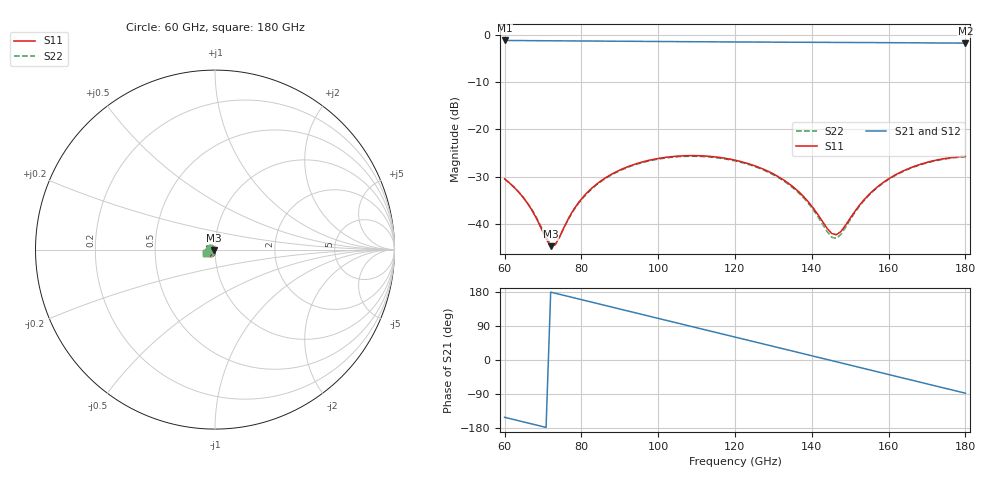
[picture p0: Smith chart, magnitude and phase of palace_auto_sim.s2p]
#  GHZ S DB R 50
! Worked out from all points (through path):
!   101 points, 60 GHz to 180 GHz, reference 50 ohm
!   highest |S21| = -1.16 dB at 60 GHz (marker M1); lowest = -1.7 dB at 180 GHz (marker M2)
!   group delay of S21, straight-line fit = 6.86 ps
!   lowest |S11| = -44.7 dB at 72 GHz (marker M3), VSWR 1.01, Z = 49.5 - j0.303 ohm
!   |S11| at or under -10 dB: start of sweep to end of sweep
!   |S22| runs from -44.3 to -25.7 dB; largest |S21 - S12| = 9.8e-14
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60  -30.49 176.6  -1.16 -151.2  -1.16 -151.2  -30.48 176.5
66  -35.71 168.9  -1.20 -166.1  -1.20 -166.1  -35.61 168.9
72  -44.73 -148.1  -1.23 179.1  -1.23 179.1  -44.32 -150.8
73.2  -44.43 -123.5  -1.24 176.1  -1.24 176.1  -44.22 -127.4
76.8  -38.61 -90.5  -1.25 167.2  -1.25 167.2  -38.75 -93.2
80.4  -34.35 -88.4  -1.27 158.3  -1.27 158.3  -34.51 -90.4
84  -31.56 -93.2  -1.29 149.4  -1.29 149.4  -31.72 -94.8
88.8  -29.08 -102.7  -1.32 137.5  -1.32 137.5  -29.23 -104.2
94.8  -27.15 -116.2  -1.35 122.7  -1.35 122.7  -27.28 -117.7
100.8  -26.05 -130.4  -1.39 107.9  -1.39 107.9  -26.19 -131.9
110.4  -25.57 -153.1  -1.43 84.2  -1.43 84.2  -25.71 -154.7
120  -26.52 -175.0  -1.48 60.5  -1.48 60.5  -26.67 -176.9
132  -30.36 161.1  -1.53 30.9  -1.53 30.9  -30.55 158.7
136.8  -33.37 155.7  -1.54 19.1  -1.54 19.1  -33.61 152.8
140.4  -36.68 157.4  -1.56 10.2  -1.56 10.2  -37.04 154.2
144  -40.96 175.8  -1.57 1.3  -1.57 1.3  -41.64 172.9
146.4  -42.31 -153.9  -1.58 -4.6  -1.58 -4.6  -43.09 -154.0
147.6  -41.61 -138.2  -1.58 -7.6  -1.58 -7.6  -42.22 -137.3
153.6  -34.91 -111.2  -1.60 -22.5  -1.60 -22.5  -35.07 -111.1
160.8  -30.08 -117.5  -1.64 -40.3  -1.64 -40.3  -30.19 -118.3
170.4  -26.89 -135.9  -1.68 -64.0  -1.68 -64.0  -27.00 -137.3
180  -25.70 -156.8  -1.73 -87.6  -1.73 -87.6  -25.80 -158.5
